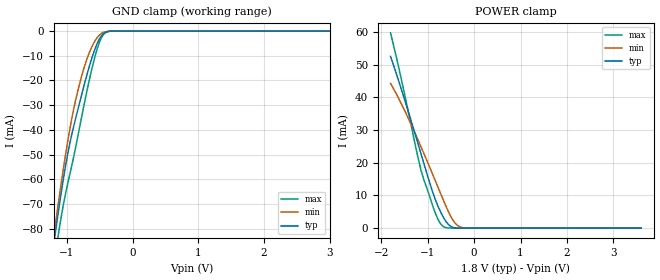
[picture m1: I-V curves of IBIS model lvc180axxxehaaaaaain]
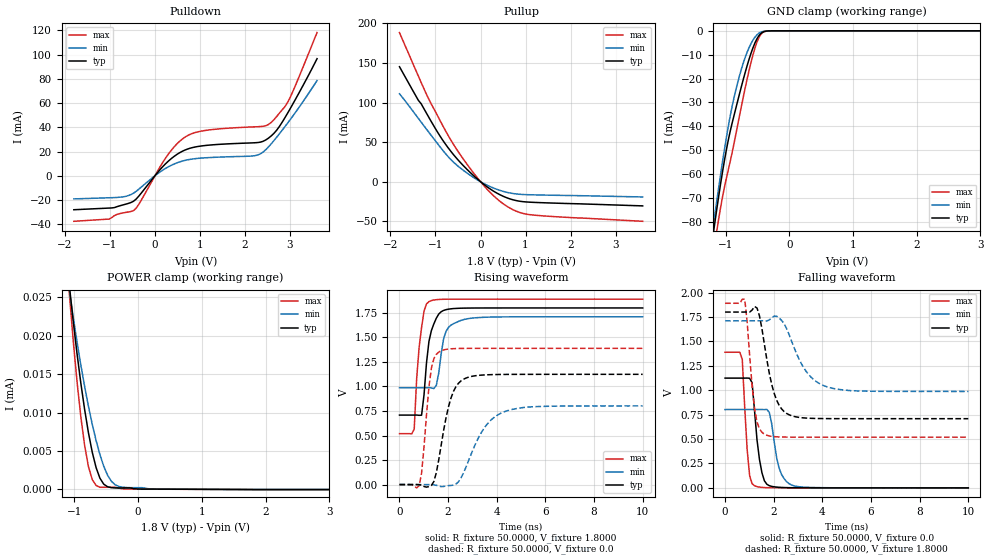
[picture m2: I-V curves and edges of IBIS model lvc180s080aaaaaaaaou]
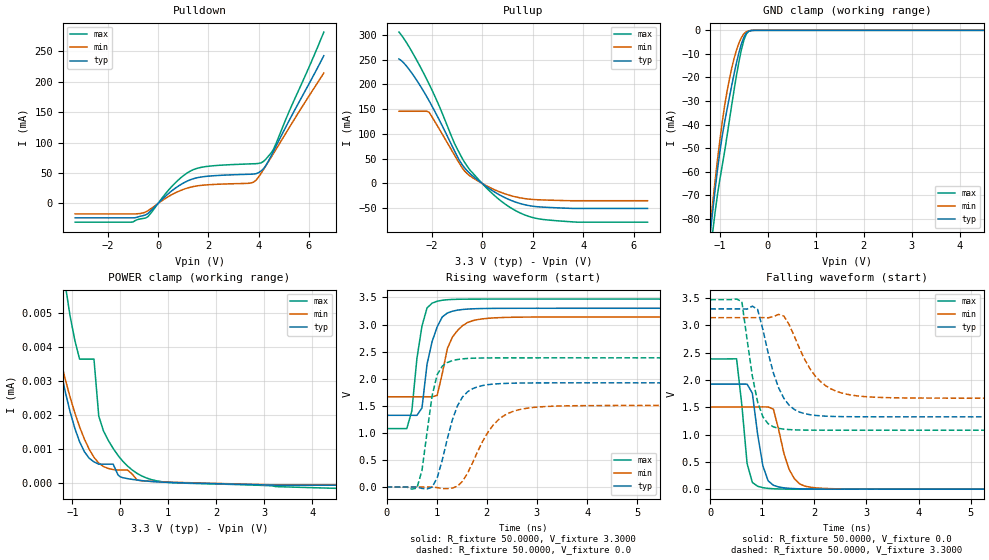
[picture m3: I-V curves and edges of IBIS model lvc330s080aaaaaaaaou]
| IBIS Models Generator: Lattice Diamond (64-bit) 3.10.0.111.2
| Generate date: Fri Nov 15 12:04:00 2019
| IBIS File LibisMaker.ibs
| LibisGen v2.0.1.0, 02/25/2008, Lattice Semiconductor Corporation
| Modified by LibisMaker v2.0.1.0, 02/25/2008, Lattice Semiconductor
| North Carolina State University, ERL, 2006
[IBIS ver]   3.2
[File Name]   OWF_car_field_v6_fmexg_impl1.ibs
[File Rev]   2.0
[Date]   Wed Jan 06 17:27:18 PST 2016
[Source]   Lattice Semiconductor cs200fl Process
   LCMXO3LF-6900C   FINAL
   Lattice Semiconductor has worked hard to ensure the
   models below are accurate and complete.  However, the
   data below was generated using simulation of the
   input/output model files for the silicon.  Therefore,
   the data below is for reference and initial design
   purposes only.
   Lattice Semiconductor grants permission to use this
   data for use in printed circuit design using this
   Lattice programmable logic device.  Other use of this
   code, including the selling or duplication of any
   portion is strictly prohibited.
|   NAMING CONVENTION
   The IBIS [Model] header is limited by the specification to a
   total of characters.  With such a set of characters available
   for naming models it becomes important to attempt to
   meaningfully encode the IO standards so they fit within the
   twenty character limit.  It would seem that twenty characters
   would provide room enough for describing IO's.  However, the
   PLD IO structure continues to grow more and more complex.  The
   complexity is making the twenty characters insuffiently
   descriptive.  In order to overcome this issue the naming
   convention described below is implemented to resolve the issue.
The twenty character space is managed as follows:
   bbbvvvsdddprugtcoixx
   b = standard
   v = voltage (x.xx V)
   s = slew code
   d = drive (xx.x ma)
   p = pullup code
   r = series resistance  or bank_vccio code
   u = terminate to vcc code
   g = terminate to gnd code
   t = terminate to vtt code
   c = common mode termination mode
   o = diff resistor code
   i = diff resistor current code
   x = reserved
   standard
   LVCMOS   lvc
   lvcmosd   lvd
   lvcmosr   lvr
   LVDS25E   lve
   LVTTL   lvt
   lvttld   ltd
   PCI   pci
   pcix   pcx
   lvds25   lvs
   blvds25   blv
   blvds25e   blv
   mlvds25   mlv
   mlvds25e   mlv
   lvpecl33   lvp
   lvpecl33e   lvp
   cml   cml
   hypt   hyp
   rsds25   rsd
   rsds25e   rse
   mipi_lp   mip
   mipi   mip
   vref1   vr1
   vref2   vr2
   ref_res   rer
   slew
   na   a
   fast   f
   slow   s
   pullmode
   off   a
   pullup   b
   pulldown   c
   bushold   d
   clamp   e
   up_clamp   f
   down_clamp   g
   keeper_clamp   h
   impedance or Bank_vccio
   off   a
   25   b
   33   c
   50   d
   100   e
   3.3   f
   2.5   g
   1.8   h
   1.5   i
   1.2   j
   termVCC
   off   a
   50   b
   100   c
   120   d
   termGND
   off   a
   50   b
   100   c
   120   d
   termVTT
   off   a
   60   b
   75   c
   120   d
   150   e
   210   f
   VCMT
   off   a
   VCMT   b
   VTT   c
   DDR-2   d
   differential resistor
   off   a
   100   b
   diff drive
   NA   a
   2.0   b
   3.5   c
   1.25   f
   2.5   g
   Reserved   IO type
   in   input only
   ou   output
   io   I/O
   od   Open drain
   on   Inverting differential I/O
   (signal name only)
   op   Non-Inverting differential I/O
   (signal name only)
   Lattice Semiconductor Corporation
   5555 NE Moore Court
   Hillsboro, OR 97214
   U.S.A
   TEL: 1-800-Lattice (USA and Canada)
   408-826-6000 (other locations)
   web: http://www.latticesemi.com/
   email: techsupport@latticesemi.com
[Disclaimer] This IBIS source code is intended as a design reference
   which illustrates how the Lattice Semiconductor device operates.
   It is the user's responsibility to verify their design for
   consistency and functionality through the use of formal
   verification methods.  Lattice Semiconductor provides no warranty
   regarding the use or functionality of this data.
[Copyright]   Copyright 2007 by Lattice Semiconductor Corporation
|   Component XO3L
[Component]   XO3L
[Manufacturer]   Lattice Semiconductor Corp.
[Package]
|CABGA256
| variable   typ   min   max
R_pkg   138.8m   126.7m   150m
L_pkg   5.59nH   3.24nH   8.59nH
C_pkg   .281pF   .275pF   .288pF
[Pin] signal_name   model_name   R_pin   L_pin   C_pin
C16   adc_clk   lvc330s080aaaaaaaaou
T7   adc_interrupt   lvc180s080aaaaaaaaou
D15   adc_pdwn   lvc330s080aaaaaaaaou
E2   ext_clk_in   lvc180axxxehaaaaaain
L9   fmexg_mic_sync   lvc180axxxehaaaaaain
T3   i2s1_d0   lvc180axxxehaaaaaain
T2   i2s1_sck   lvc180s080aaaaaaaaou
R3   i2s1_ws   lvc180s080aaaaaaaaou
T5   i2s2_d0   lvc180s080aaaaaaaaou
R6   i2s2_d1   lvc180s080aaaaaaaaou
T4   i2s2_sck   lvc180s080aaaaaaaaou
R5   i2s2_ws   lvc180s080aaaaaaaaou
F1   led4_muteout   lvc330s120ahaaaaaaod
T10   spi1_clk   lvc180axxxehaaaaaain
R11   spi1_cs0   lvc180axxxehaaaaaain
T12   spi1_cs2   lvc180axxxehaaaaaain
T11   spi1_miso   lvc180s080aaaaaaaaou
R10   spi1_mosi   lvc180axxxehaaaaaain
T13   spi3_clk   lvc180axxxehaaaaaain
R13   spi3_cs0   lvc180axxxehaaaaaain
T15   spi3_cs3   lvc180axxxehaaaaaain
T14   spi3_miso   lvc180s080aaaaaaaaou
R12   spi3_mosi   lvc180axxxehaaaaaain
T8   spi4_clk   lvc180axxxehaaaaaain
R8   spi4_cs   lvc180axxxehaaaaaain
R9   spi4_miso   lvc180s080aaaaaaaaou
L1   test_l1   lvc330s080aaaaaaaaou
L2   test_l2   lvc330s080aaaaaaaaou
M1   test_m1   lvc330s080aaaaaaaaou
M2   test_m2   lvc330s080aaaaaaaaou
P13   volplus_mute   lvc180axxxehaaaaaain
| Models and submodels in the file (4): lvc180axxxehaaaaaain (Input), lvc180s080aaaaaaaaou (Output), lvc330s080aaaaaaaaou (Output), lvc330s120ahaaaaaaod (I/O_open_drain)
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[Model]   lvc180axxxehaaaaaain
Model_type   Input
Polarity   Non-Inverting
Enable   Active-Low
Vinl =   0.6300V
Vinh =   1.1700V
C_comp   4.2000pF   3.8000pF   7.5000pF
[Temperature Range]   25.0000   0.1050k   -40.0000
[Voltage Range]   1.8000V   1.7100V   1.8900V
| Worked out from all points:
|   GND clamp passes 1 mA (typ) near -0.44 V on its own axis
|   POWER clamp passes 1 mA (typ) near -0.54 V on its own axis
[GND_clamp]
|Voltage   I(typ)   I(min)   I(max)
-1.8V     -240.2mA   -229.4mA   -254.3mA
-1.2V     -86.16mA   -82.91mA   -94.88mA
-1.17V    -80.45mA   -77.09mA   -89.3mA
-1.11V    -69.45mA   -65.77mA   -78.87mA
-1.02V    -54.48mA   -49.86mA   -65.69mA
-930mV    -42.25mA   -35.9mA    -54.92mA
-780mV    -26.14mA   -18.58mA   -35.25mA
-690mV    -17.13mA   -10.87mA   -23.53mA
-570mV    -7.024mA   -3.834mA   -9.978mA
-450mV    -1.176mA   -584.6uA   -1.582mA
-300mV    -18.65uA   -15.9uA    -16.44uA
3.6V      0A         0A         0A
[POWER_clamp]
|Voltage   I(typ)   I(min)   I(max)
-1.8V     52.51mA    44.24mA    59.69mA
-1.68V    47.44mA    41.17mA    52.62mA
-1.5V     39.45mA    36.1mA     41.14mA
-1.26V    28.3mA     28.66mA    24.99mA
-1.14V    22.57mA    24.76mA    17.52mA
-840mV    8.928mA    14.66mA    4.779mA
-720mV    4.91mA     10.55mA    1.28mA
-660mV    3.265mA    8.507mA    435.9uA
-540mV    921.6uA    4.64mA     35.01uA
-420mV    115.2uA    1.718mA    2.184uA
-240mV    3.289uA    139.9uA    57.44nA
3.6V      -31nA      -27.04nA   -40.53nA
[Model]   lvc180s080aaaaaaaaou
Model_type   Output
Polarity   Non-Inverting
Enable   Active-Low
Vmeas =   0.9000V
Cref =   0.0F
Rref =   1.0000M
Vref =   0.0V
C_comp   4.2000pF   3.8000pF   7.5000pF
[Temperature Range]   25.0000   0.1050k   -40.0000
[Voltage Range]   1.8000V   1.7100V   1.8900V
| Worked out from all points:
|   slope of the pulldown table from 0 to 0.27 V, typ, clamps not added: 24.3 ohm
|   slope of the pullup table from 0 to 0.27 V, typ, clamps not added: 24.1 ohm
|   GND clamp passes 1 mA (typ) near -0.44 V on its own axis
|   rising waveform, R_fixture 50.0000, V_fixture 1.8000: 20-80 % time 317ps typ, 313ps min, 267ps max; typ from 0.708 V to 1.8 V
|   rising waveform, R_fixture 50.0000, V_fixture 0.0: 20-80 % time 550ps typ, 995ps min, 303ps max; typ from 0 V to 1.12 V
|   falling waveform, R_fixture 50.0000, V_fixture 0.0: 20-80 % time 290ps typ, 361ps min, 202ps max; typ from 1.12 V to 0 V
|   falling waveform, R_fixture 50.0000, V_fixture 1.8000: 20-80 % time 532ps typ, 904ps min, 295ps max; typ from 1.8 V to 0.708 V
[Pulldown]
|Voltage   I(typ)   I(min)   I(max)
-1.8V     -28.04mA   -19.11mA   -37.59mA
-1.02V    -26.67mA   -18.17mA   -35.8mA
-480mV    -21.13mA   -14.49mA   -28.87mA
-360mV    -16.89mA   -11.13mA   -23.66mA
300mV     12.14mA    7.44mA     17.93mA
720mV     22mA       13.12mA    33.05mA
1.2V      25.28mA    15.01mA    37.83mA
2.22V     27.25mA    16.59mA    40.4mA
2.4V      28.42mA    19.5mA     40.82mA
2.58V     32.82mA    26.26mA    43.97mA
3V        55.16mA    46.16mA    64.46mA
3.6V      96.65mA    78.54mA    118.2mA
[Pullup]
|Voltage   I(typ)   I(min)   I(max)
-1.8V     145.2mA    111mA      188.3mA
-1.38V    102.7mA    79.92mA    133.3mA
-1.2V     86.47mA    66.31mA    110.3mA
-900mV    57.64mA    44.09mA    77.35mA
-660mV    38.42mA    28.01mA    52.66mA
-360mV    19.03mA    13.42mA    26.77mA
0V        -3.621nA   -3.321nA   -5.23nA
240mV     -10.15mA   -6.836mA   -15.04mA
480mV     -17.78mA   -11.81mA   -26.87mA
780mV     -23.67mA   -15.37mA   -36.89mA
1.08V     -25.78mA   -16.44mA   -41.49mA
3.6V      -30.51mA   -19.25mA   -49.97mA
[GND_clamp]
|Voltage   I(typ)   I(min)   I(max)
-1.8V     -240.2mA   -229.4mA   -254.3mA
-1.2V     -86.16mA   -82.91mA   -94.88mA
-1.17V    -80.45mA   -77.09mA   -89.3mA
-1.11V    -69.45mA   -65.77mA   -78.87mA
-1.02V    -54.48mA   -49.86mA   -65.69mA
-930mV    -42.25mA   -35.9mA    -54.92mA
-780mV    -26.14mA   -18.58mA   -35.25mA
-690mV    -17.13mA   -10.87mA   -23.53mA
-570mV    -7.024mA   -3.834mA   -9.978mA
-450mV    -1.176mA   -584.6uA   -1.582mA
-300mV    -18.65uA   -15.9uA    -16.44uA
3.6V      0A         0A         0A
[POWER_clamp]
|Voltage   I(typ)   I(min)   I(max)
-1.8V     102.4uA    78.03uA    133.9uA
-1.08V    26.57uA    25.91uA    25.52uA
-1.02V    21.97uA    22.48uA    19.46uA
-960mV    17.73uA    19.24uA    14.09uA
-840mV    10.4uA     13.41uA    5.721uA
-780mV    7.367uA    10.82uA    2.953uA
-660mV    2.828uA    6.356uA    502.7nA
-600mV    1.45uA     4.526uA    261.9nA
-480mV    332.2nA    1.843uA    261.9nA
-360mV    177.6nA    587.2nA    261.9nA
-240mV    177.6nA    270.7nA    57.44nA
3.6V      -31nA      -27.04nA   -40.53nA
[Ramp]
| variable   typ   min   max
dV/dt_r  0.6610/0.5441n   0.4811/0.9851n   0.8331/0.2999n
dV/dt_f  0.6551/0.5269n   0.4337/0.8944n   0.8227/0.2917n
R_load = 50.0000
[Rising Waveform]
R_fixture=   50.0000
V_fixture=   1.8000
V_fixture_min=   1.7100
V_fixture_max=   1.8900
|time   V(typ)   V(min)   V(max)
0s        708.2mV    987.1mV    518.8mV
606.1ps   708.2mV    987.1mV    565.4mV
707.1ps   708.5mV    987.1mV    1.08V
808.1ps   705.9mV    987.1mV    1.399V
909.1ps   707mV      987.1mV    1.601V
1.212ns   1.459V     988.1mV    1.865V
1.515ns   1.696V     1.011V     1.885V
1.919ns   1.783V     1.564V     1.889V
2.525ns   1.798V     1.673V     1.89V
10ns      1.8V       1.71V      1.89V
[Rising Waveform]
R_fixture=   50.0000
V_fixture=   0.0
V_fixture_min=   0.0
V_fixture_max=   0.0
|time   V(typ)   V(min)   V(max)
0s        416.8nV    613.5nV    315.6nV
808.1ps   -1.039mV   1.182uV    -11.37mV
909.1ps   -6.19mV    12.11uV    116.2mV
1.313ns   -8.391mV   -721.4uV   1.187V
1.717ns   406.1mV    -20.81mV   1.365V
2.222ns   950.3mV    -5.742mV   1.385V
2.828ns   1.094V     235.6mV    1.388V
3.535ns   1.118V     593.3mV    1.389V
4.444ns   1.123V     753.5mV    1.389V
10ns      1.124V     801.8mV    1.389V
[Falling Waveform]
R_fixture=   50.0000
V_fixture=   0.0
V_fixture_min=   0.0
V_fixture_max=   0.0
|time   V(typ)   V(min)   V(max)
0s        1.124V     801.8mV    1.389V
707.1ps   1.124V     801.8mV    1.315V
909.1ps   1.124V     801.8mV    387.8mV
1.01ns    1.122V     801.8mV    123.7mV
1.212ns   788.3mV    801.8mV    21.25mV
1.515ns   155.1mV    802.2mV    4.899mV
1.818ns   22.23mV    773.6mV    1.2mV
2.222ns   5.808mV    201.3mV    223.4uV
2.727ns   1.36mV     29.64mV    55.95uV
10ns      -7.639uV   31.92uV    -3.753uV
[Falling Waveform]
R_fixture=   50.0000
V_fixture=   1.8000
V_fixture_min=   1.7100
V_fixture_max=   1.8900
|time   V(typ)   V(min)   V(max)
0s        1.8V       1.71V      1.89V
808.1ps   1.8V       1.71V      1.932V
1.212ns   1.857V     1.71V      814.1mV
1.414ns   1.761V     1.711V     603.6mV
1.616ns   1.471V     1.71V      549.8mV
2.121ns   896.9mV    1.757V     522.5mV
2.727ns   739.1mV    1.507V     519.2mV
3.434ns   713.1mV    1.161V     518.9mV
4.242ns   709mV      1.031V     518.8mV
10ns      708.2mV    987.1mV    518.8mV
[Model]   lvc330s080aaaaaaaaou
Model_type   Output
Polarity   Non-Inverting
Enable   Active-Low
Vmeas =   1.500000V
Cref =   0.0F
Rref =   1.0000M
Vref =   0.0V
C_comp   4.2000pF   3.8000pF   7.5000pF
[Temperature Range]   25.0000   0.1050k   -40.0000
[Voltage Range]   3.3000V   3.1400V   3.4700V
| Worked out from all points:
|   slope of the pulldown table from 0 to 0.495 V, typ, clamps not added: 26 ohm
|   slope of the pullup table from 0 to 0.495 V, typ, clamps not added: 28.5 ohm
|   GND clamp passes 1 mA (typ) near -0.44 V on its own axis
|   rising waveform, R_fixture 50.0000, V_fixture 3.3000: 20-80 % time 251ps typ, 301ps min, 192ps max; typ from 1.32 V to 3.3 V
|   rising waveform, R_fixture 50.0000, V_fixture 0.0: 20-80 % time 363ps typ, 551ps min, 235ps max; typ from 0 V to 1.92 V
|   falling waveform, R_fixture 50.0000, V_fixture 0.0: 20-80 % time 188ps typ, 267ps min, 144ps max; typ from 1.92 V to 0 V
|   falling waveform, R_fixture 50.0000, V_fixture 3.3000: 20-80 % time 370ps typ, 535ps min, 253ps max; typ from 3.3 V to 1.32 V
[Pulldown]
|Voltage   I(typ)   I(min)   I(max)
-3.3V     -23.68mA   -17.2mA    -30.83mA
-1.1V     -23.68mA   -17.2mA    -30.83mA
-500mV    -18.89mA   -14.22mA   -24.07mA
-400mV    -16.44mA   -11.92mA   -21.58mA
600mV     22.43mA    15.62mA    30.22mA
1.3V      39.15mA    26.81mA    53.52mA
2V        44.82mA    30.69mA    61.1mA
3.7V      48.02mA    33.59mA    65.1mA
3.9V      48.94mA    38.13mA    65.35mA
4.2V      57.11mA    55.89mA    69.15mA
4.6V      86.19mA    82.47mA    89.45mA
6.6V      242.9mA    214.5mA    281.7mA
[Pullup]
|Voltage   I(typ)   I(min)   I(max)
-3.3V     251.3mA    145.8mA    305.6mA
-2.8V     223.5mA    145.8mA    267.3mA
-2.1V     166.4mA    143.5mA    200mA
-1.7V     127.9mA    109.7mA    155.7mA
-1.1V     65.82mA    57.34mA    80.93mA
-700mV    31.56mA    25.14mA    42.75mA
100mV     -3.836mA   -2.847mA   -5.414mA
800mV     -26.11mA   -19.07mA   -37.53mA
1.5V      -40.43mA   -28.94mA   -59.42mA
2.3V      -47.34mA   -33.02mA   -71.88mA
3.8V      -50.39mA   -34.76mA   -78.11mA
6.55V     -50.39mA   -34.76mA   -78.11mA
[GND_clamp]
|Voltage   I(typ)   I(min)   I(max)
-3.3V     -955.3mA   -930.3mA   -978mA
-1.2V     -86.18mA   -82.93mA   -94.91mA
-1.15V    -76.73mA   -73.29mA   -85.74mA
-1.1V     -67.71mA   -63.95mA   -77.28mA
-1V       -51.52mA   -46.57mA   -63.21mA
-900mV    -38.87mA   -31.88mA   -51.26mA
-800mV    -28.25mA   -20.58mA   -37.97mA
-700mV    -18.1mA    -11.63mA   -24.81mA
-600mV    -9.267mA   -5.265mA   -13.06mA
-450mV    -1.181mA   -586.6uA   -1.592mA
-250mV    -3.532uA   -4.055uA   -3.003uA
6.6V      0A         0A         0A
[POWER_clamp]
|Voltage   I(typ)   I(min)   I(max)
-3.25V    664.8uA    749.4uA    597.1uA
-1.55V    5.914uA    5.712uA    11.4uA
-1.45V    4.987uA    4.974uA    9.751uA
-1.15V    2.703uA    3.073uA    5.863uA
-850mV    1.226uA    1.662uA    3.655uA
-550mV    631.3nA    766.5nA    3.655uA
-450mV    563.6nA    595.5nA    1.977uA
-150mV    563.6nA    404.4nA    1.026uA
0V        190.5nA    391.2nA    734.7nA
450mV     79.23nA    72.94nA    213.9nA
950mV     30.32nA    38.42nA    33.55nA
6.6V      -57.56nA   -49.34nA   -232.5nA
[Ramp]
| variable   typ   min   max
dV/dt_r  1.1542/0.3590n   0.9035/0.5460n   1.4308/0.2329n
dV/dt_f  1.1855/0.3662n   0.8843/0.5297n   1.4345/0.2507n
R_load = 50.0000
[Rising Waveform]
R_fixture=   50.0000
V_fixture=   3.3000
V_fixture_min=   3.1400
V_fixture_max=   3.4700
|time   V(typ)   V(min)   V(max)
0s        1.324V     1.666V     1.079V
404ps     1.324V     1.666V     1.079V
505.1ps   1.324V     1.666V     1.407V
606.1ps   1.323V     1.666V     2.373V
707.1ps   1.46V      1.666V     2.973V
808.1ps   2.269V     1.667V     3.306V
1.01ns    2.956V     1.691V     3.43V
1.313ns   3.246V     2.765V     3.463V
1.818ns   3.293V     3.091V     3.469V
10ns      3.3V       3.14V      3.47V
[Rising Waveform]
R_fixture=   50.0000
V_fixture=   0.0
V_fixture_min=   0.0
V_fixture_max=   0.0
|time   V(typ)   V(min)   V(max)
0s        830nV      1.065uV    812.2nV
606.1ps   -647.3uV   2.343uV    -19.28mV
707.1ps   -25.56mV   18.24uV    307.2mV
909.1ps   -1.644mV   -352.6uV   1.685V
1.01ns    168.3mV    -10.05mV   2.075V
1.313ns   1.24V      -19.03mV   2.334V
1.717ns   1.816V     450.2mV    2.378V
2.121ns   1.9V       1.136V     2.384V
2.727ns   1.921V     1.444V     2.385V
10ns      1.924V     1.506V     2.385V
[Falling Waveform]
R_fixture=   50.0000
V_fixture=   0.0
V_fixture_min=   0.0
V_fixture_max=   0.0
|time   V(typ)   V(min)   V(max)
0s        1.924V     1.506V     2.385V
505.1ps   1.924V     1.506V     2.387V
707.1ps   1.923V     1.506V     469.1mV
808.1ps   1.757V     1.506V     123.1mV
1.01ns    427.9mV    1.507V     27.45mV
1.212ns   71.02mV    1.464V     7.412mV
1.414ns   24.43mV    655.3mV    2.129mV
1.616ns   9.884mV    189mV      652.9uV
1.919ns   2.628mV    35.9mV     184.5uV
10ns      -6.753uV   -8.585uV   -14.06uV
[Falling Waveform]
R_fixture=   50.0000
V_fixture=   3.3000
V_fixture_min=   3.1400
V_fixture_max=   3.4700
|time   V(typ)   V(min)   V(max)
0s        3.3V       3.14V      3.47V
606.1ps   3.3V       3.14V      3.436V
808.1ps   3.351V     3.14V      2.072V
909.1ps   3.292V     3.14V      1.597V
1.111ns   2.497V     3.138V     1.198V
1.313ns   1.855V     3.2V       1.113V
1.616ns   1.458V     2.796V     1.086V
2.02ns    1.35V      2.067V     1.08V
2.626ns   1.327V     1.737V     1.079V
10ns      1.324V     1.666V     1.079V
